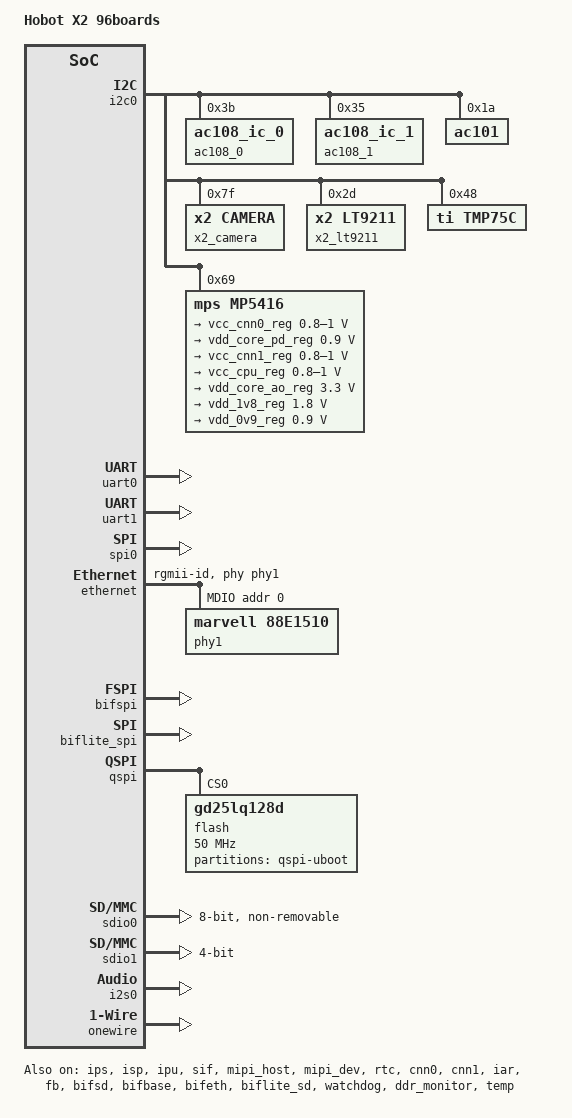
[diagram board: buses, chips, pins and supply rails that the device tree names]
/*
 * dts file for Hobot X2 for 96boards
 *
 * (C) Copyright 2018, Horizon, Inc.
 *
 *
 * This program is free software; you can redistribute it and/or
 * modify it under the terms of the GNU General Public License as
 * published by the Free Software Foundation; either version 2 of
 * the License, or (at your option) any later version.
 */

/dts-v1/;
#include "hobot.dtsi"
#include "hobot-pinctrl.dtsi"
#include "hobot-clk.dtsi"
#include "memory-1g.dtsi"
#include <dt-bindings/gpio/gpio.h>
#include <dt-bindings/phy/phy.h>
#include <dt-bindings/input/input.h>
/ {
	model = "Hobot X2 96boards";
	compatible = "hobot,x2-fpga";

	aliases {
		serial0 = &uart0;
		serial1 = &uart1;
		serial2 = &uart2;
		serial3 = &uart3;
		i2c0	= &i2c0;
		i2c1	= &i2c1;
		i2c2	= &i2c2;
		i2c3	= &i2c3;
		i2s0	= &i2s0;
		i2s1	= &i2s1;
		spi0	= &spi0;
		pwm0	= &pwm_0;
		pwm1	= &pwm_1;
		pwm2	= &pwm_2;
		bifsd	= &bifsd;
		bifspi	= &bifspi;
		mmc1	= &sdio0;
		mmc2	= &sdio1;
		sndcard0    = &snd0;
		idma0     = &i2sidma0;

	};

	chosen {
		bootargs = "earlycon loglevel=8 console=ttyS0 clk_ignore_unused";
		stdout-path = "serial0:115200n8";
	};

};

&i2c0 {
	status = "okay";
	#address-cells = <1>;
	#size-cells = <0>;
	ac108_0: ac108_0@0x3b {
		compatible = "ac108_ic_0";
		reg = <0x3b>;
		#sound-dai-cells = <1>;
	};

	ac108_1@0x35 {
		compatible = "ac108_ic_1";
		reg = <0x35>;
	};

	ac101@0x1a {
		compatible = "ac101";
		// pinctrl-names = "default";
		// pinctrl-0 = <&spk_amp_pins &gpclk0_pins>;
		spk-amp-switch = <71>;
		switch-irq = <72>;
		reg = <0x1a>;
		#sound-dai-cells = <0>;
	};

	
	x2_camera@0x7f {
	    compatible = "x2,camera";
	    reg = <0x7f>;
	};
	
	x2_lt9211@0x2d {
		compatible = "x2,lt9211";
		reg = <0x2d>;
		x2_lt9211_reset_pin = <85>;
	};

	tmp75c@48 {
                compatible = "ti,tmp75c";
		reg = <0x48>;
	};
	mp5416@69 {
		compatible = "mps,mp5416";
		reg = <0x69>;
		system-power-controller;
		regulators {
			vcc_cnn0_reg: DCDC1 {
				regulator-name = "VCC_CNN0";
				regulator-min-microvolt = <800000>;
				regulator-max-microvolt = <1000000>;
				regulator-enable-ramp-delay = <450>;
			};

			vdd_core_pd_reg: DCDC2 {
				regulator-name = "VDD_CORE_PD";
				regulator-min-microvolt = <900000>;
				regulator-max-microvolt = <900000>;
				regulator-always-on;
				regulator-boot-on;
			};

			vcc_cnn1_reg: DCDC3 {
				regulator-name = "VCC_CNN1";
				regulator-min-microvolt = <800000>;
				regulator-max-microvolt = <1000000>;
				regulator-enable-ramp-delay = <450>;
			};

			vcc_cpu_reg: DCDC4 {
				regulator-name = "VCC_CPU";
				regulator-min-microvolt = <800000>;
				regulator-max-microvolt = <1000000>;
				regulator-always-on;
				regulator-boot-on;
			};

			vdd_core_ao_reg: LDO3 {
				regulator-name = "VDD_CORE_AO";
				regulator-min-microvolt = <3300000>;
				regulator-max-microvolt = <3300000>;
				regulator-always-on;
				regulator-boot-on;
			};

			vdd_1v8_reg: LDO4 {
				regulator-name = "VDD_1V8";
				regulator-min-microvolt = <1800000>;
				regulator-max-microvolt = <1800000>;
				regulator-enable-ramp-delay = <70>;
				regulator-always-on;
				regulator-boot-on;
			};

			vdd_0v9_reg: LDO5 {
				regulator-name = "VDD_0V9";
				regulator-min-microvolt = <900000>;
				regulator-max-microvolt = <900000>;
				regulator-always-on;
				regulator-boot-on;
			};
		};
	};

};

&i2c1 {
	status = "disabled";
};

&pinctrl {
	status = "okay";
	gpioirq-bank-cfg = <118 0 0 0>;
};

&uart0 {
	status = "okay";
	clocks = <&uart0_mclk>;
	clock-names = "uart_mclk";
};

&uart1 {
	status = "okay";
	clocks = <&uart1_mclk>;
	clock-names = "uart_mclk";
};

&ips {
	//pinctrl-names = "bt_func", "dvp_func";
	//pinctrl-0 = <&btin_func &btout_func>;
	//pinctrl-1 = <&dvpin_func &dvpout_func>;
	status = "okay";
};

&isp {
	status = "okay";
};

&ipu {
	status = "okay";
};

&sif {
	status = "okay";
};
&mipi_host {
	status = "okay";
};

&mipi_dev {
	status = "okay";
};

&dma {
	status = "okay";
};

&x2dmatest {
	status = "disabled";
};

&rtc {
	status = "okay";
};

&pwm_0 {
	status = "disabled";
};

&spi0 {
	status = "okay";
};

&ethernet {
	status = "okay";
	clocks = <&eth0_ephy_2nddiv_clk>, <&eth0_prediv_clk>, <&eth0_div_clk>;
	clock-names = "phy_ref_clk", "mac_pre_div_clk", "mac_div_clk";

	pinctrl-names = "default";
	pinctrl-0 = <&eth_func>;

	/* local-mac-address = [ 00 11 22 33 44 55 ]; */
	phy-handle = <&phy1>;
	phy-mode = "rgmii-id";
	mdio {
		#address-cells = <0x1>;
		#size-cells = <0x0>;
		phy1: phy@0 {
			compatible = "marvell,88E1510","ethernet-phy-ieee802.3-c22";
			reg = <0x0>;
		};
	};
};

&cpu0 {
	status = "okay";
	cpu-supply = <&vcc_cpu_reg>;
};
&cpu1 {
	status = "okay";
	cpu-supply = <&vcc_cpu_reg>;
};

&cnn0 {
	status = "okay";
	cnn0-supply = <&vcc_cnn0_reg>;
};

&cnn1 {
	status = "okay";
	cnn1-supply = <&vcc_cnn1_reg>;
};

&iar {
	status = "okay";
};

&fb {
	status = "okay";
};

&bifspi {
	status = "okay";
};

&bifsd {
	status = "okay";
	/*cd-gpio = <91>;*/
};

&bifbase {
	/*bifbase: GPIO7[8]: 118, GPIO07[7]: 117*/
	status = "okay";
	bifbase_irq_pin = <118>;
	bifbase_tri_pin = <117>;
};

&bifeth {
	status = "okay";
};

&biflite_spi {
	status = "okay";
	frame_len_max = <262144>;
	frag_len_max = <1024>;
	frame_count = <4>;
};
&biflite_sd {
	status = "okay";
	frame_len_max = <262144>;
	frag_len_max = <32768>;
	frame_count = <12>;
};
&qspi {
	status = "okay";
	qspi-mode = <1>;
	#address-cells = <1>;
	#size-cells = <0>;
	clocks = <&sys_qspi_aclk>;
	clock-names = "qspi_aclk";

	flash@0 {
		compatible = "gd25lq128d";
		#address-cells = <1>;
		#size-cells = <1>;
		reg = <0x0>;
		spi-tx-bus-width = <4>;
		spi-rx-bus-width = <4>;
		spi-max-frequency = <50000000>;

		partition@qspi-uboot {
			label = "qspi-uboot";
			reg = <0x200000 0x200000>;
		};
	};
};

&sdio0 {
	status = "okay";
	bus-width = <8>;
	cap-mmc-highspeed;
	mmc-hs200-1_8v;
	non-removable;
	disable-wp;
};

&sdio1 {
	status = "okay";
	bus-width = <4>;
	cap-mmc-highspeed;
	cap-sd-highspeed;
	mmc-hs200-1_8v;
	broken-cd;
	disable-wp;	
};

&watchdog {
	status = "okay";
};

&i2s0 {
	status = "okay";
	#sound-dai-cells = <0>;
	clocks = <&i2s0_mclk>, <&i2s0_div_mclk>, <&i2s0_bclk>, <&i2s0_div_bclk>;
	clock-names = "i2s-mclk", "i2s-mclk-div", "i2s-bclk", "i2s0_div_bclk";
};


&ddr_monitor {
	status = "okay";
};

&onewire {
	status = "okay";
};

&temp {
	clocks = <&temp_sensor_div_clk>;
	clock-names = "tsensor_clk";
	status = "okay";
};

&soc_thermal {
	status = "okay";
	trips {
		target: trip-point@1 {
			temperature = <105000>;
		};
		soc_crit: soc-crit {
			temperature = <120000>;
		};
	};
};

&snd0 {
	model = "x2snd0";
	dai-link@0 {
		dai-format = "dsp_a";
		bitclock-master;
		frame-master;
		frame-inversion;
		link-name = "x2dailink0";
		cpu {
			sound-dai = <&i2s0>;
		};
		codec {
			sound-dai = <&ac108_0 0>;
		};
		platform {
			sound-dai = <&i2sidma0>;
		};
	};
};
